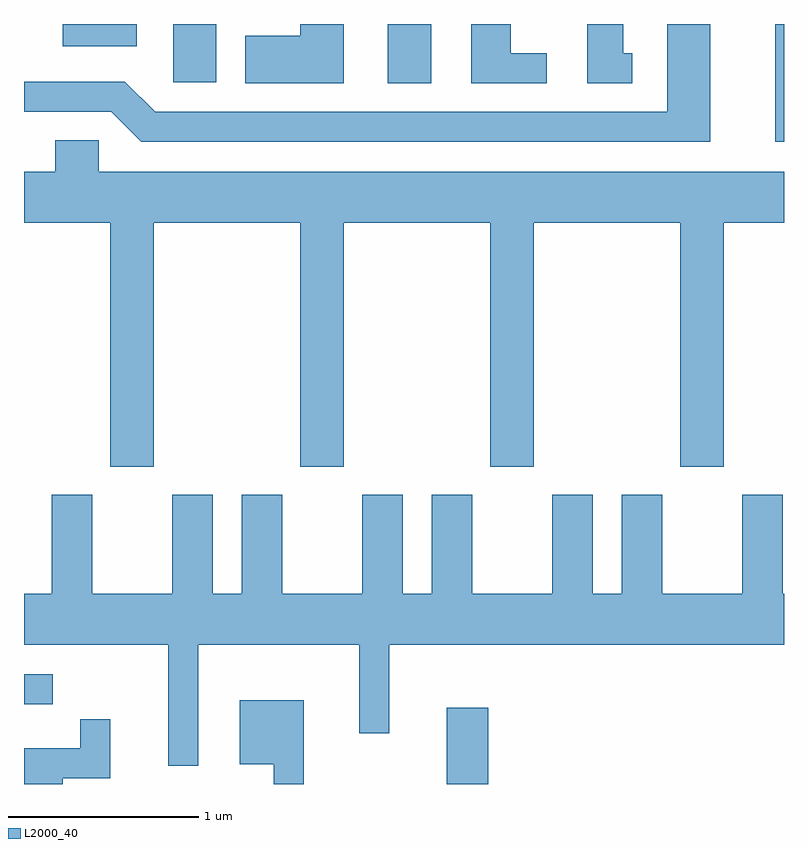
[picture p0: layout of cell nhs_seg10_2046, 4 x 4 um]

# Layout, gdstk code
import gdstk
lib = gdstk.Library(unit=1e-6, precision=1e-09)
def R(c, l, rs):  # rectangles x0, y0, x1, y1
    for r in rs: c.add(gdstk.rectangle(r[:2], r[2:], *l))
def P(c, l, *ps):  # polygons
    for p in ps: c.add(gdstk.Polygon(p, *l))
L2000_40 = (2000, 40)

nhs_seg10_2046 = lib.new_cell('nhs_seg10_2046')
R(nhs_seg10_2046, L2000_40, [(247.836,2106.522,248.054,2106.924), (245.611,2106.941,245.763,2107.099), (249.566,2109.901,249.611,2110.522), (247.526,2110.211,247.754,2110.522), (246.396,2110.216,246.624,2110.522), (245.816,2110.406,246.204,2110.522)])
P(nhs_seg10_2046, L2000_40, [(248.813,2110.369),(248.764,2110.369),(248.764,2110.522),(248.576,2110.522),(248.576,2110.211),(248.813,2110.211)],
  [(249.224,2110.522),(248.996,2110.522),(248.996,2110.059),(246.302,2110.059),(246.142,2110.219),(245.611,2110.219),(245.611,2110.061),(246.069,2110.061),(246.229,2109.901),(249.224,2109.901)],
  [(248.363,2110.369),(248.174,2110.369),(248.174,2110.522),(247.966,2110.522),(247.966,2110.211),(248.363,2110.211)],
  [(247.294,2110.522),(247.066,2110.522),(247.066,2110.459),(246.776,2110.459),(246.776,2110.211),(247.294,2110.211)],
  [(246.294,2109.476),(247.066,2109.476),(247.066,2108.191),(247.294,2108.191),(247.294,2109.476),(248.066,2109.476),(248.066,2108.191),(248.294,2108.191),(248.294,2109.476),(249.066,2109.476),(249.066,2108.191),(249.294,2108.191),(249.294,2109.476),(249.611,2109.476),(249.611,2109.744),(246.004,2109.744),(246.004,2109.909),(245.776,2109.909),(245.776,2109.744),(245.611,2109.744),(245.611,2109.476),(246.066,2109.476),(246.066,2108.191),(246.294,2108.191)],
  [(246.529,2107.256),(247.376,2107.256),(247.376,2106.788),(247.534,2106.788),(247.534,2107.256),(249.611,2107.256),(249.611,2107.524),(249.604,2107.524),(249.604,2108.044),(249.391,2108.044),(249.391,2107.524),(248.969,2107.524),(248.969,2108.044),(248.756,2108.044),(248.756,2107.524),(248.604,2107.524),(248.604,2108.044),(248.391,2108.044),(248.391,2107.524),(247.969,2107.524),(247.969,2108.044),(247.756,2108.044),(247.756,2107.524),(247.604,2107.524),(247.604,2108.044),(247.391,2108.044),(247.391,2107.524),(246.969,2107.524),(246.969,2108.044),(246.756,2108.044),(246.756,2107.524),(246.604,2107.524),(246.604,2108.044),(246.391,2108.044),(246.391,2107.524),(245.969,2107.524),(245.969,2108.044),(245.756,2108.044),(245.756,2107.524),(245.611,2107.524),(245.611,2107.256),(246.371,2107.256),(246.371,2106.618),(246.529,2106.618)],
  [(247.084,2106.964),(246.746,2106.964),(246.746,2106.626),(246.926,2106.626),(246.926,2106.522),(247.084,2106.522)],
  [(245.814,2106.551),(246.064,2106.551),(246.064,2106.863),(245.906,2106.863),(245.906,2106.709),(245.611,2106.709),(245.611,2106.522),(245.814,2106.522)])

lib.write_gds('nhs_seg10_2046.gds')
